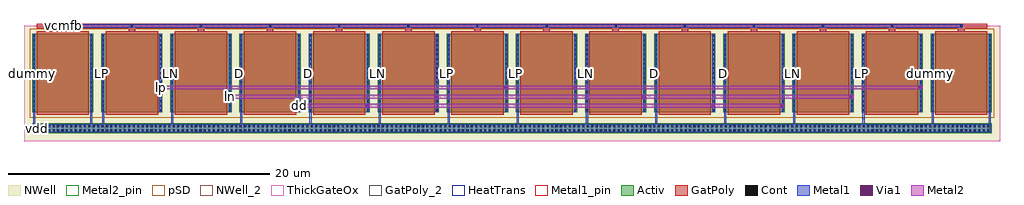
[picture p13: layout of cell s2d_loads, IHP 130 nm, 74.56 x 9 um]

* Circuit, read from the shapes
.subckt s2d_loads dd ln lp vcmfb vdd
XM1 vdd vcmfb vdd vdd sg13_hv_pmos w=6u l=4u m=2
XM2 lp vcmfb vdd vdd sg13_hv_pmos w=6u l=4u m=4
XM3 ln vcmfb vdd vdd sg13_hv_pmos w=6u l=4u m=4
XM4 dd vcmfb vdd vdd sg13_hv_pmos w=6u l=4u m=4
.ends

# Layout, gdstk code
import gdstk
lib = gdstk.Library(unit=1e-6, precision=1e-09)
def R(c, l, rs):  # rectangles x0, y0, x1, y1
    for r in rs: c.add(gdstk.rectangle(r[:2], r[2:], *l))
def A(c, l, x, y, w, h, nx, ny, dx, dy):  # array of equal rectangles
    R(c, l, [(x+i*dx, y+j*dy, x+i*dx+w, y+j*dy+h) for i in range(nx) for j in range(ny)])
Activ = (1, 0)
GatPoly = (5, 0)
GatPoly_2 = (5, 2)
Cont = (6, 0)
Metal1 = (8, 0)
Metal1_pin = (8, 2)
Metal2 = (10, 0)
Metal2_pin = (10, 2)
pSD = (14, 0)
Via1 = (19, 0)
NWell = (31, 0)
NWell_2 = (31, 2)
ThickGateOx = (44, 0)
HeatTrans = (51, 0)

pmoshv_2 = lib.new_cell('pmosHV$2')
R(pmoshv_2, Activ, [(0,0,0.3,0.3), (0,0,4.68,6), (4.38,0,4.68,0.3)])
R(pmoshv_2, GatPoly, [(0.34,-0.18,4.34,6.18)])
R(pmoshv_2, GatPoly_2, [(0.34,-0.18,4.34,6.18)])
A(pmoshv_2, Cont, 0.07, 0.07, 0.16, 0.16, 1, 4, 0, 0.355)
A(pmoshv_2, Cont, 4.45, 0.07, 0.16, 0.16, 1, 4, 0, 0.355)
A(pmoshv_2, Cont, 0.07, 1.495, 0.16, 0.16, 1, 4, 0, 0.355)
A(pmoshv_2, Cont, 4.45, 1.495, 0.16, 0.16, 1, 4, 0, 0.355)
A(pmoshv_2, Cont, 0.07, 2.92, 0.16, 0.16, 1, 4, 0, 0.355)
A(pmoshv_2, Cont, 4.45, 2.92, 0.16, 0.16, 1, 4, 0, 0.355)
A(pmoshv_2, Cont, 0.07, 4.345, 0.16, 0.16, 1, 4, 0, 0.355)
A(pmoshv_2, Cont, 4.45, 4.345, 0.16, 0.16, 1, 4, 0, 0.355)
R(pmoshv_2, Cont, [(0.07,5.77,0.23,5.93), (4.45,5.77,4.61,5.93)])
R(pmoshv_2, Metal1, [(0.07,0,0.23,6), (4.45,0,4.61,6)])
R(pmoshv_2, Metal1_pin, [(0.07,0,0.23,6), (4.45,0,4.61,6)])
R(pmoshv_2, pSD, [(-0.18,-0.4,4.86,6.4)])
R(pmoshv_2, NWell, [(-0.62,-0.62,5.3,6.62)])
R(pmoshv_2, ThickGateOx, [(-0.62,-0.62,5.3,6.62)])
R(pmoshv_2, HeatTrans, [(0.34,-0.18,4.34,6.18)])
pmoshv_2.add(gdstk.Label('pmosHV', (2.34,3), layer=63, texttype=0))
pmoshv_2.add(gdstk.Label('pmos', (2.34,3), layer=51, texttype=0))

ntap1_4 = lib.new_cell('ntap1$4')
R(ntap1_4, Activ, [(0,0,73.32,0.78)])
A(ntap1_4, Cont, 0.2, 0.14, 0.16, 0.16, 215, 2, 0.34, 0.34)
R(ntap1_4, Metal1, [(0.2,0.09,73.12,0.69)])
R(ntap1_4, Metal1_pin, [(0.2,0.09,73.12,0.69), (0.2,0.14,73.12,0.64)])
R(ntap1_4, NWell, [(-0.24,-0.24,73.56,1.02), (0,0,73.32,0.78)])
R(ntap1_4, NWell_2, [(0,0,73.32,0.78)])
ntap1_4.add(gdstk.Label('well', (36.66,0.01), layer=63, texttype=0))
ntap1_4.add(gdstk.Label('well', (36.66,0.01), layer=31, texttype=0))

s2d_loads = lib.new_cell('s2d_loads')
A(s2d_loads, GatPoly, 2.09, 6, 0.5, 0.43, 14, 1, 5.28, 0)
R(s2d_loads, GatPoly, [(0.34,6.42,72.98,6.78)])
A(s2d_loads, Cont, 2.26, 6.52, 0.16, 0.16, 14, 1, 5.28, 0)
A(s2d_loads, Metal1, 5.35, -1.01, 0.16, 1.06, 13, 1, 5.28, 0)
A(s2d_loads, Metal1, 14.945, 1.055, 0.29, 0.29, 4, 1, 15.84, 0)
R(s2d_loads, Metal1, [(0.07,-1.51,73.25,-0.91), (0.07,-1.01,0.23,0.05), (4.45,-1.01,4.61,0.05), (73.09,-1.01,73.25,0.05), (20.225,0.355,20.515,0.645), (25.505,0.355,25.795,0.645), (51.905,0.355,52.195,0.645), (57.185,0.355,57.475,0.645), (9.665,1.755,9.955,2.045), (36.065,1.755,36.355,2.045), (41.345,1.755,41.635,2.045), (67.745,1.755,68.035,2.045), (2.21,6.47,71.11,6.73)])
R(s2d_loads, Metal1_pin, [(0.2,-1.51,0.6,-0.91), (2.21,6.47,2.51,6.73)])
R(s2d_loads, Metal2, [(20.225,0.355,57.475,0.645), (14.945,1.055,62.755,1.345), (9.665,1.755,68.035,2.045)])
R(s2d_loads, Metal2_pin, [(20.225,0.355,20.62,0.645), (14.945,1.055,15.34,1.345), (9.665,1.755,10.06,2.045)])
R(s2d_loads, pSD, [(-0.18,-0.4,73.5,6.4)])
A(s2d_loads, Via1, 14.995, 1.105, 0.19, 0.19, 4, 1, 15.84, 0)
R(s2d_loads, Via1, [(20.275,0.405,20.465,0.595), (25.555,0.405,25.745,0.595), (51.955,0.405,52.145,0.595), (57.235,0.405,57.425,0.595), (9.715,1.805,9.905,1.995), (36.115,1.805,36.305,1.995), (41.395,1.805,41.585,1.995), (67.795,1.805,67.985,1.995)])
R(s2d_loads, NWell, [(-0.62,-2.22,73.94,6.62)])
R(s2d_loads, ThickGateOx, [(-0.62,-2.22,73.94,6.62)])
s2d_loads.add(gdstk.Reference(pmoshv_2, (0,0)))
s2d_loads.add(gdstk.Reference(pmoshv_2, (5.28,0)))
s2d_loads.add(gdstk.Reference(pmoshv_2, (10.56,0)))
s2d_loads.add(gdstk.Reference(pmoshv_2, (15.84,0)))
s2d_loads.add(gdstk.Reference(pmoshv_2, (21.12,0)))
s2d_loads.add(gdstk.Reference(pmoshv_2, (26.4,0)))
s2d_loads.add(gdstk.Reference(pmoshv_2, (31.68,0)))
s2d_loads.add(gdstk.Reference(pmoshv_2, (36.96,0)))
s2d_loads.add(gdstk.Reference(pmoshv_2, (42.24,0)))
s2d_loads.add(gdstk.Reference(pmoshv_2, (47.52,0)))
s2d_loads.add(gdstk.Reference(pmoshv_2, (52.8,0)))
s2d_loads.add(gdstk.Reference(pmoshv_2, (58.08,0)))
s2d_loads.add(gdstk.Reference(pmoshv_2, (63.36,0)))
s2d_loads.add(gdstk.Reference(pmoshv_2, (68.64,0)))
s2d_loads.add(gdstk.Reference(ntap1_4, (0,-1.6)))
s2d_loads.add(gdstk.Label('dummy', (0,3), layer=63, texttype=0))
s2d_loads.add(gdstk.Label('LP', (5.28,3), layer=63, texttype=0))
s2d_loads.add(gdstk.Label('LN', (10.56,3), layer=63, texttype=0))
s2d_loads.add(gdstk.Label('D', (15.84,3), layer=63, texttype=0))
s2d_loads.add(gdstk.Label('D', (21.12,3), layer=63, texttype=0))
s2d_loads.add(gdstk.Label('LN', (26.4,3), layer=63, texttype=0))
s2d_loads.add(gdstk.Label('LP', (31.68,3), layer=63, texttype=0))
s2d_loads.add(gdstk.Label('LP', (36.96,3), layer=63, texttype=0))
s2d_loads.add(gdstk.Label('LN', (42.24,3), layer=63, texttype=0))
s2d_loads.add(gdstk.Label('D', (47.52,3), layer=63, texttype=0))
s2d_loads.add(gdstk.Label('D', (52.8,3), layer=63, texttype=0))
s2d_loads.add(gdstk.Label('LN', (58.08,3), layer=63, texttype=0))
s2d_loads.add(gdstk.Label('LP', (63.36,3), layer=63, texttype=0))
s2d_loads.add(gdstk.Label('dummy', (68.64,3), layer=63, texttype=0))
s2d_loads.add(gdstk.Label('vcmfb', (2.36,6.6), layer=8, texttype=25))
s2d_loads.add(gdstk.Label('vdd', (0.4,-1.21), layer=8, texttype=25))
s2d_loads.add(gdstk.Label('lp', (9.86,1.9), layer=10, texttype=25))
s2d_loads.add(gdstk.Label('ln', (15.14,1.2), layer=10, texttype=25))
s2d_loads.add(gdstk.Label('dd', (20.42,0.5), layer=10, texttype=25))

lib.write_gds('s2d_loads.gds')
